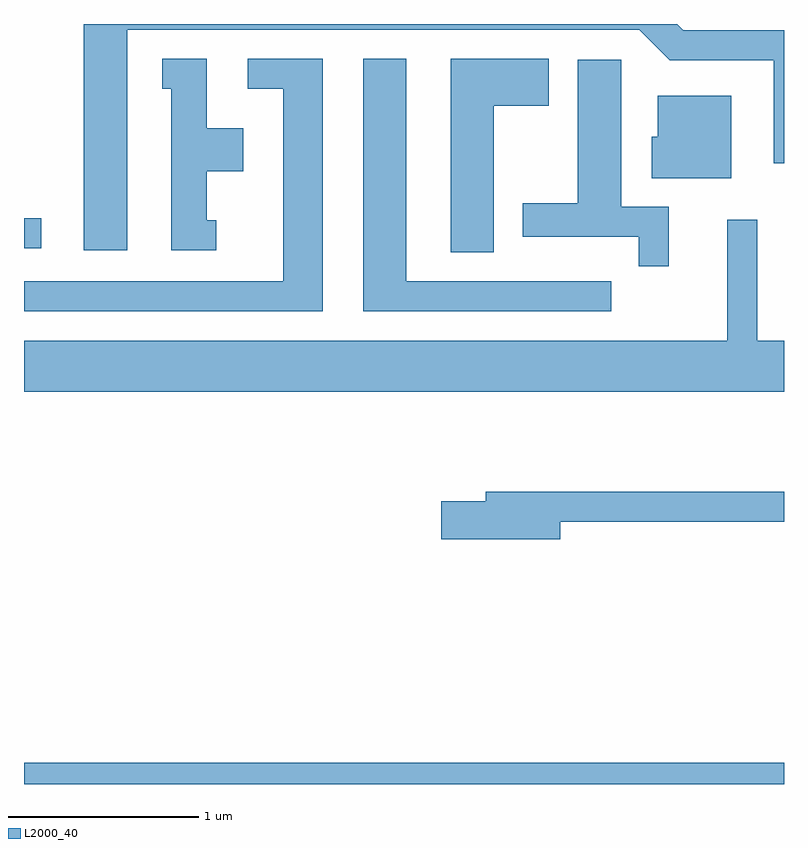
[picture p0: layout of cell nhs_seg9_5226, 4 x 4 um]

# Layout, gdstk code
import gdstk
lib = gdstk.Library(unit=1e-6, precision=1e-09)
def R(c, l, rs):  # rectangles x0, y0, x1, y1
    for r in rs: c.add(gdstk.rectangle(r[:2], r[2:], *l))
def P(c, l, *ps):  # polygons
    for p in ps: c.add(gdstk.Polygon(p, *l))
L2000_40 = (2000, 40)

nhs_seg9_5226 = lib.new_cell('nhs_seg9_5226')
R(nhs_seg9_5226, L2000_40, [(339.611,1976.432,343.611,1976.544), (339.611,1979.251,339.703,1979.409)])
P(nhs_seg9_5226, L2000_40, [(340.154,1980.401),(342.849,1980.401),(343.009,1980.241),(343.556,1980.241),(343.556,1979.698),(343.611,1979.698),(343.611,1980.399),(343.082,1980.399),(343.049,1980.432),(339.926,1980.432),(339.926,1979.241),(340.154,1979.241)],
  [(342.703,1979.079),(341.624,1979.079),(341.624,1980.249),(341.396,1980.249),(341.396,1978.921),(342.703,1978.921)],
  [(341.184,1980.249),(340.788,1980.249),(340.788,1980.091),(340.976,1980.091),(340.976,1979.079),(339.611,1979.079),(339.611,1978.921),(341.184,1978.921)],
  [(340.623,1979.399),(340.574,1979.399),(340.574,1979.656),(340.764,1979.656),(340.764,1979.884),(340.574,1979.884),(340.574,1980.249),(340.338,1980.249),(340.338,1980.091),(340.386,1980.091),(340.386,1979.241),(340.623,1979.241)],
  [(342.084,1980.001),(342.374,1980.001),(342.374,1980.249),(341.856,1980.249),(341.856,1979.231),(342.084,1979.231)],
  [(343.004,1979.469),(342.754,1979.469),(342.754,1980.244),(342.526,1980.244),(342.526,1979.489),(342.236,1979.489),(342.236,1979.311),(342.846,1979.311),(342.846,1979.158),(343.004,1979.158)],
  [(343.334,1980.054),(342.946,1980.054),(342.946,1979.839),(342.916,1979.839),(342.916,1979.621),(343.334,1979.621)],
  [(343.611,1978.764),(343.469,1978.764),(343.469,1979.403),(343.311,1979.403),(343.311,1978.764),(339.611,1978.764),(339.611,1978.496),(343.611,1978.496)],
  [(342.434,1977.811),(343.611,1977.811),(343.611,1977.969),(342.041,1977.969),(342.041,1977.919),(341.806,1977.919),(341.806,1977.721),(342.434,1977.721)])

lib.write_gds('nhs_seg9_5226.gds')
